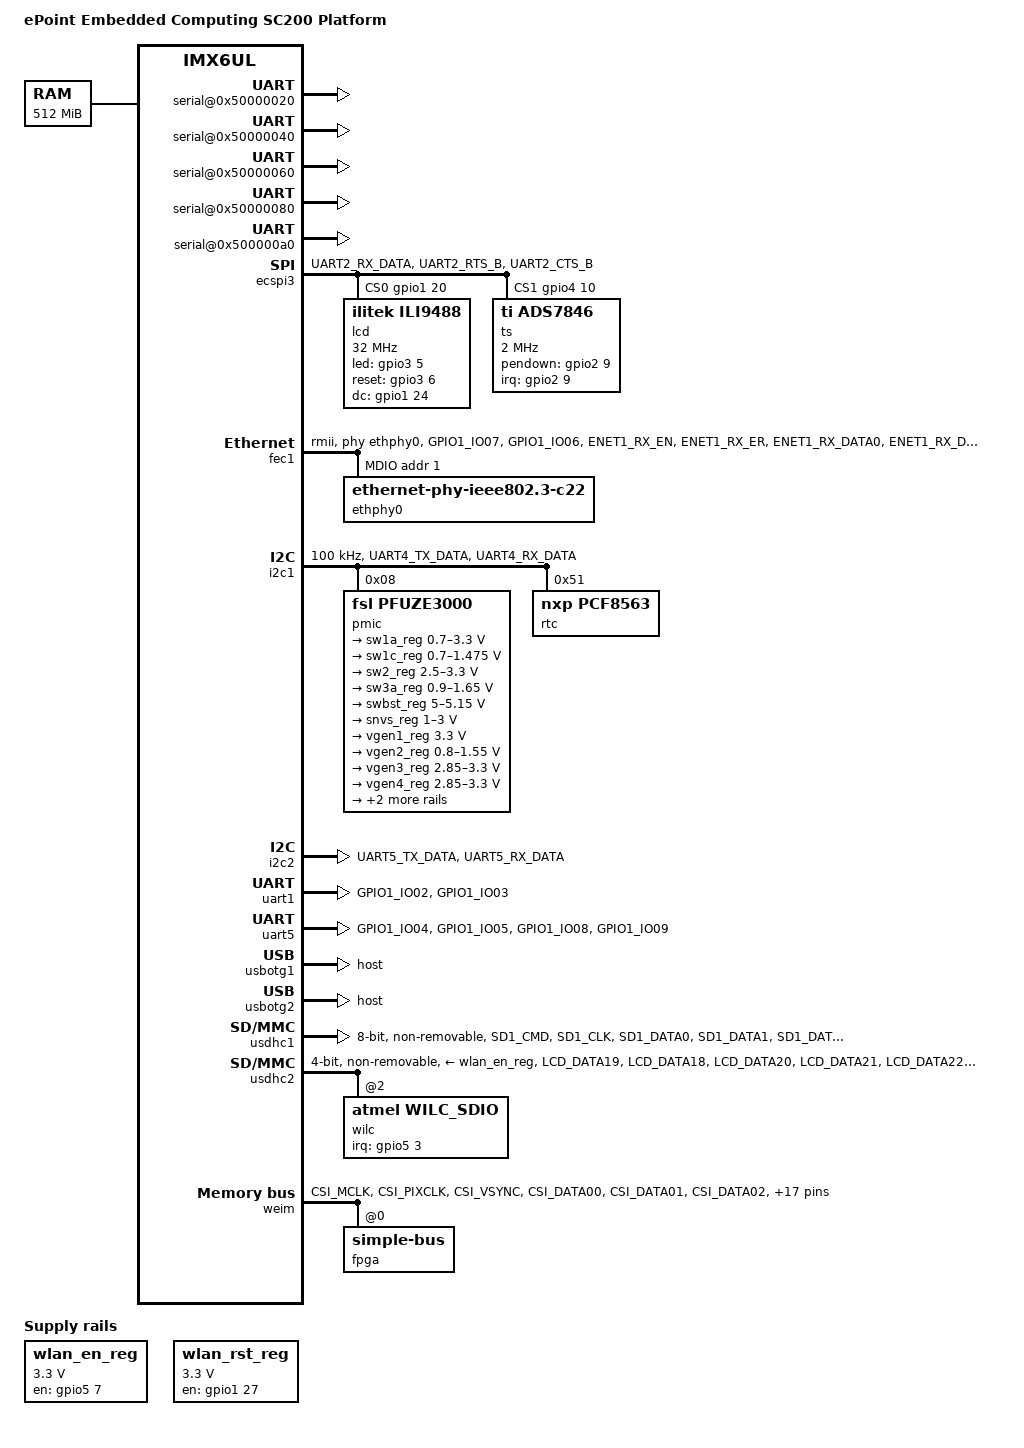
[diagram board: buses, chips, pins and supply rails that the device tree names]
/*
 * Copyright (C) 2015 Freescale Semiconductor, Inc.
 *
 * This program is free software; you can redistribute it and/or modify
 * it under the terms of the GNU General Public License version 2 as
 * published by the Free Software Foundation.
 */

/dts-v1/;

#include <dt-bindings/input/input.h>
#include "imx6ul.dtsi"

/ {
	model = "ePoint Embedded Computing SC200 Platform";
	compatible = "fsl,imx6ul-sc100", "fsl,imx6ul";

	chosen {
		stdout-path = &uart1;
	};

	memory {
		reg = <0x80000000 0x20000000>;
	};

	reserved-memory {
		#address-cells = <1>;
		#size-cells = <1>;
		ranges;

		linux,cma {
			compatible = "shared-dma-pool";
			reusable;
			size = <0x14000000>;
			linux,cma-default;
		};
	};

	regulators {
		compatible = "simple-bus";
		#address-cells = <1>;
		#size-cells = <0>;

		wlan_en_reg: regulator@0 {
			compatible = "regulator-fixed";
			reg = <0>;
			regulator-name = "wlan_en_reg";
			regulator-min-microvolt = <3300000>;
			regulator-max-microvolt = <3300000>;
			regulator-always-on;
			gpio = <&gpio5 7 1>;
			enable-active-high;
		};

		wlan_rst_reg: regulator@1 {
			compatible = "regulator-fixed";
			reg = <1>;
			regulator-name = "wlan_rst_reg";
			regulator-min-microvolt = <3300000>;
			regulator-max-microvolt = <3300000>;
			regulator-always-on;
			gpio = <&gpio1 27 1>;  
			enable-active-high;
		}; 

	};

	serial@0x50000020 {
		compatible = "ns16550a";
		reg = <0x50000020 0x0020>;
		clock-frequency = <66500000>;
		reg-shift = <2>;
		reg-io-width = <4>;
		interrupt-parent = <&gpio3>;
		interrupts = <18 IRQ_TYPE_LEVEL_HIGH>;
		status = "okay";
	}; 

	serial@0x50000040 {
		compatible = "ns16550a";
		reg = <0x50000040 0x0020>;
		clock-frequency = <66500000>;
		reg-shift = <2>;
		reg-io-width = <4>;
		interrupt-parent = <&gpio3>;
		interrupts = <19 IRQ_TYPE_LEVEL_HIGH>;
		status = "okay";
	}; 

	serial@0x50000060 {
		compatible = "ns16550a";
		reg = <0x50000060 0x0020>;
		clock-frequency = <66500000>;
		reg-shift = <2>;
		reg-io-width = <4>;
		interrupt-parent = <&gpio3>;
		interrupts = <20 IRQ_TYPE_LEVEL_HIGH>;
		status = "okay";
	}; 

	serial@0x50000080 {
		compatible = "ns16550a";
		reg = <0x50000080 0x0020>;
		clock-frequency = <66500000>;
		reg-shift = <2>;
		reg-io-width = <4>;
		interrupt-parent = <&gpio3>;
		interrupts = <21 IRQ_TYPE_LEVEL_HIGH>;
		status = "okay";
	}; 

		serial@0x500000a0 {
		compatible = "ns16550a";
		reg = <0x500000a0 0x0020>;
		clock-frequency = <66500000>;
		reg-shift = <2>;
		reg-io-width = <4>;
		interrupt-parent = <&gpio3>;
		interrupts = <22 IRQ_TYPE_LEVEL_HIGH>;
		status = "okay";
	}; 
	
};



&cpu0 {
	arm-supply = <&sw1c_reg>;
	soc-supply = <&sw1c_reg>;
	fsl,arm-soc-shared = <1>;
};

&clks {
	assigned-clocks = <&clks IMX6UL_CLK_PLL4_AUDIO_DIV>;
	assigned-clock-rates = <786432000>;
};

&ecspi3 {
	fsl,spi-num-chipselects = <2>;
	cs-gpios = <&gpio1 20 0>,<&gpio4 10 0>;
	pinctrl-names = "default";
	pinctrl-0 = <&pinctrl_ecspi3_1>;
	status = "okay";


    lcd@0{
		compatible = "ilitek,ili9488";
		reg = <0>;
		status = "okay";
		spi-max-frequency = <32000000>;
		rotate = <270>;
		bgr;
		fps = <50>;
		txbuflen=<138240>; 
		/* txbuflen=<131072>; */
	    buswidth = <8>;
		led-gpios = <&gpio3 5 0>;
		reset-gpios = <&gpio3 6 0>;
		dc-gpios = <&gpio1 24 0>;
	    debug = <0>;
	}; 

     ts@1{
		compatible = "ti,ads7846";
		reg = <1>;
		status = "okay";
		spi-max-frequency = <2000000>;
		interrupt-parent = <&gpio2>;
		interrupts = <9 0>;
		pendown-gpio = <&gpio2 9 0>;
		ti,x-plate-ohms = /bits/ 16 <100>;
		ti,pressure-max = /bits/ 16 <255>;
	}; 

	/* gpio6: gpio@1 {
		compatible = "microchip,mcp23S17";
		gpio-controller;
		spi-max-frequency = <50000000>;
		microchip,spi-present-mask = <0x01>;
		#gpio-cells=<2>;
		reg=<1>; 
	}; */
};

&fec1 {
	pinctrl-names = "default";
	pinctrl-0 = <&pinctrl_enet1>;
	phy-mode = "rmii";
	phy-reset-gpios = <&gpio5 2 GPIO_ACTIVE_LOW>;
	phy-handle = <&ethphy0>;
	status = "okay";
	
		mdio {
		#address-cells = <1>;
		#size-cells = <0>;

		ethphy0: ethernet-phy@1 {
			compatible = "ethernet-phy-ieee802.3-c22";
			reg = <1>;
		};
	};
};

&gpc {
	fsl,cpu_pupscr_sw2iso = <0x1>;
	fsl,cpu_pupscr_sw = <0x0>;
	fsl,cpu_pdnscr_iso2sw = <0x1>;
	fsl,cpu_pdnscr_iso = <0x1>;
	fsl,ldo-bypass = <0>; /* DCDC, ldo-enable */
};

&i2c1 {
	clock-frequency = <100000>;
	pinctrl-names = "default";
	pinctrl-0 = <&pinctrl_i2c1>;
	status = "okay";

	pmic: pfuze3000@08 {
		compatible = "fsl,pfuze3000";
		reg = <0x08>;

		regulators {
			sw1a_reg: sw1a {
					regulator-min-microvolt = <700000>;
					regulator-max-microvolt = <3300000>;
					regulator-boot-on;
					regulator-always-on;
					regulator-ramp-delay = <6250>;
			};

			/* use sw1c_reg to align with pfuze100/pfuze200 */
			sw1c_reg: sw1b {
				regulator-min-microvolt = <700000>;
				regulator-max-microvolt = <1475000>;
				regulator-boot-on;
				regulator-always-on;
				regulator-ramp-delay = <6250>;
			};

			sw2_reg: sw2 {
				regulator-min-microvolt = <2500000>;
				regulator-max-microvolt = <3300000>;
				regulator-boot-on;
				regulator-always-on;
			};

			sw3a_reg: sw3 {
				regulator-min-microvolt = <900000>;
				regulator-max-microvolt = <1650000>;
				regulator-boot-on;
				regulator-always-on;
			};

			swbst_reg: swbst {
				regulator-min-microvolt = <5000000>;
				regulator-max-microvolt = <5150000>;
			};

			snvs_reg: vsnvs {
				regulator-min-microvolt = <1000000>;
				regulator-max-microvolt = <3000000>;
				regulator-boot-on;
				regulator-always-on;
			};

			vref_reg: vrefddr {
				regulator-boot-on;
				regulator-always-on;
			};

			vgen1_reg: vldo1 {
				regulator-min-microvolt = <3300000>;
				regulator-max-microvolt = <3300000>;
				regulator-always-on;
			};

			vgen2_reg: vldo2 {
				regulator-min-microvolt = <800000>;
				regulator-max-microvolt = <1550000>;
				regulator-always-on;
			};

			vgen3_reg: vccsd {
				regulator-min-microvolt = <2850000>;
				regulator-max-microvolt = <3300000>;
				regulator-always-on;
			};

			vgen4_reg: v33 {
				regulator-min-microvolt = <2850000>;
				regulator-max-microvolt = <3300000>;
				regulator-always-on;
			};

			vgen5_reg: vldo3 {
				regulator-min-microvolt = <1800000>;
				regulator-max-microvolt = <3300000>;
				regulator-always-on;
			};

			vgen6_reg: vldo4 {
				regulator-min-microvolt = <1800000>;
				regulator-max-microvolt = <3300000>;
				regulator-always-on;
			};
		};
	};
	
	rtc: pcf8563@51 {
		compatible = "nxp,pcf8563";
		reg = <0x51>;
	};
};

&i2c2 {
	clock_frequency = <100000>;
	pinctrl-names = "default";
	pinctrl-0 = <&pinctrl_i2c2>;
	status = "okay";
};

&iomuxc {
	pinctrl-names = "default";
	pinctrl-0 = <&pinctrl_hog_1>;
	imx6ul-evk {
		pinctrl_hog_1: hoggrp-1 {
			fsl,pins = <				
				MX6UL_PAD_SNVS_TAMPER0__GPIO5_IO00	0x80000000
				MX6UL_PAD_SNVS_TAMPER1__GPIO5_IO01	0x80000000
				MX6UL_PAD_SNVS_TAMPER2__GPIO5_IO02	0x80000000
				MX6UL_PAD_SNVS_TAMPER3__GPIO5_IO03	0x80000000
				MX6UL_PAD_SNVS_TAMPER4__GPIO5_IO04	0x80000000
				MX6UL_PAD_SNVS_TAMPER5__GPIO5_IO05	0x80000000
				MX6UL_PAD_SNVS_TAMPER6__GPIO5_IO06	0x80000000
				MX6UL_PAD_SNVS_TAMPER7__GPIO5_IO07	0x80000000
				MX6UL_PAD_SNVS_TAMPER8__GPIO5_IO08	0x80000000
				MX6UL_PAD_SNVS_TAMPER9__GPIO5_IO09	0x80000000
				MX6UL_PAD_UART2_TX_DATA__GPIO1_IO20	0x80000000
				MX6UL_PAD_UART3_TX_DATA__GPIO1_IO24	0x80000000
				MX6UL_PAD_UART3_RTS_B__GPIO1_IO27	0x80000000
				MX6UL_PAD_LCD_DATA00__GPIO3_IO05	0x80000000
				MX6UL_PAD_LCD_DATA01__GPIO3_IO06	0x80000000
				MX6UL_PAD_LCD_DATA02__GPIO3_IO07	0x80000000
				MX6UL_PAD_LCD_DATA03__GPIO3_IO08	0x80000000
				MX6UL_PAD_LCD_DATA04__GPIO3_IO09	0x80000000
				MX6UL_PAD_LCD_DATA05__GPIO3_IO10	0x80000000				
				MX6UL_PAD_LCD_DATA08__GPIO3_IO13	0x80000000
				MX6UL_PAD_LCD_DATA09__GPIO3_IO14	0x80000000
				MX6UL_PAD_LCD_DATA10__GPIO3_IO15	0x80000000
				MX6UL_PAD_LCD_DATA11__GPIO3_IO16	0x80000000
				MX6UL_PAD_LCD_DATA12__GPIO3_IO17	0x80000000
				MX6UL_PAD_LCD_DATA13__GPIO3_IO18	0x80000000
				MX6UL_PAD_LCD_DATA14__GPIO3_IO19	0x80000000
				MX6UL_PAD_LCD_DATA15__GPIO3_IO20	0x80000000
				MX6UL_PAD_LCD_DATA16__GPIO3_IO21	0x80000000
				MX6UL_PAD_LCD_DATA17__GPIO3_IO22	0x80000000
				MX6UL_PAD_NAND_ALE__GPIO4_IO10      0x80000000
				MX6UL_PAD_ENET2_RX_DATA0__GPIO2_IO08  0x80000000
				MX6UL_PAD_ENET2_RX_DATA1__GPIO2_IO09  0x80000000
				MX6UL_PAD_GPIO1_IO00__GPIO1_IO00	0x80000000
				MX6UL_PAD_GPIO1_IO01__GPIO1_IO01	0x80000000
			>;
		};

		pinctrl_adc1: adc1grp {
			fsl,pins = <
				MX6UL_PAD_GPIO1_IO00__GPIO1_IO00	0xb0
				MX6UL_PAD_GPIO1_IO01__GPIO1_IO01	0xb0
				MX6UL_PAD_GPIO1_IO04__GPIO1_IO04	0xb0
				MX6UL_PAD_GPIO1_IO05__GPIO1_IO05	0xb0
				MX6UL_PAD_GPIO1_IO08__GPIO1_IO08	0xb0
			>;
		};

		pinctrl_ecspi1_1: ecspi1grp {
			fsl,pins = <
				MX6UL_PAD_LCD_DATA23__ECSPI1_MISO	0x100b1
				MX6UL_PAD_LCD_DATA22__ECSPI1_MOSI	0x100b1
				MX6UL_PAD_LCD_DATA20__ECSPI1_SCLK	0x100b1
			>;
		};

        pinctrl_ecspi3_1: ecspi3grp {
			fsl,pins = <
				MX6UL_PAD_UART2_RX_DATA__ECSPI3_SCLK	0x100b1
				MX6UL_PAD_UART2_RTS_B__ECSPI3_MISO	    0x100b1
                MX6UL_PAD_UART2_CTS_B__ECSPI3_MOSI	    0x100b1
			>;
		};

		pinctrl_ecspi4_1: ecspi4grp {
			fsl,pins = <
				MX6UL_PAD_ENET2_TX_DATA1__ECSPI4_SCLK	0x100b1
				MX6UL_PAD_ENET2_TX_CLK__ECSPI4_MISO	    0x100b1
                MX6UL_PAD_ENET2_TX_EN__ECSPI4_MOSI	    0x100b1
			>;
		};

		pinctrl_enet1: enet1grp {
			fsl,pins = <
				MX6UL_PAD_GPIO1_IO07__ENET1_MDC		0x1b0b0
				MX6UL_PAD_GPIO1_IO06__ENET1_MDIO	0x1b0b0
				MX6UL_PAD_ENET1_RX_EN__ENET1_RX_EN	0x1b0b0
				MX6UL_PAD_ENET1_RX_ER__ENET1_RX_ER	0x1b0b0
				MX6UL_PAD_ENET1_RX_DATA0__ENET1_RDATA00	0x1b0b0
				MX6UL_PAD_ENET1_RX_DATA1__ENET1_RDATA01	0x1b0b0
				MX6UL_PAD_ENET1_TX_EN__ENET1_TX_EN	0x1b0b0
				MX6UL_PAD_ENET1_TX_DATA0__ENET1_TDATA00	0x1b0b0
				MX6UL_PAD_ENET1_TX_DATA1__ENET1_TDATA01	0x1b0b0
				MX6UL_PAD_ENET1_TX_CLK__ENET1_REF_CLK1	0x4001b031
			>;
		};

		pinctrl_flexcan1: flexcan1grp{
			fsl,pins = <
				MX6UL_PAD_UART3_RTS_B__FLEXCAN1_RX	0x1b020
				MX6UL_PAD_UART3_CTS_B__FLEXCAN1_TX	0x1b020
			>;
		};

		pinctrl_i2c1: i2c1grp {
			fsl,pins = <
				MX6UL_PAD_UART4_TX_DATA__I2C1_SCL 	0x4001b8b0
				MX6UL_PAD_UART4_RX_DATA__I2C1_SDA  	0x4001b8b0
			>;
		};

		pinctrl_i2c2: i2c2grp {
			fsl,pins = <
				MX6UL_PAD_UART5_TX_DATA__I2C2_SCL 0x4001b8b0
				MX6UL_PAD_UART5_RX_DATA__I2C2_SDA 0x4001b8b0
			>;
		};
			
		pinctrl_i2c3: i2c3grp {
			fsl,pins = <
				MX6UL_PAD_UART1_TX_DATA__I2C3_SCL 0x4001b8b0
				MX6UL_PAD_UART1_RX_DATA__I2C3_SDA 0x4001b8b0
			>;
		};

		pinctrl_qspi: qspigrp {
			fsl,pins = <
				MX6UL_PAD_NAND_WP_B__QSPI_A_SCLK      0x70a1
				MX6UL_PAD_NAND_READY_B__QSPI_A_DATA00 0x70a1
				MX6UL_PAD_NAND_CE0_B__QSPI_A_DATA01   0x70a1
				MX6UL_PAD_NAND_CE1_B__QSPI_A_DATA02   0x70a1
				MX6UL_PAD_NAND_CLE__QSPI_A_DATA03     0x70a1
				MX6UL_PAD_NAND_DQS__QSPI_A_SS0_B      0x70a1
			>;
		};


		pinctrl_uart1: uart1grp {
			fsl,pins = <
				MX6UL_PAD_GPIO1_IO02__UART1_DCE_TX 0x1b0b1
				MX6UL_PAD_GPIO1_IO03__UART1_DCE_RX 0x1b0b1
			>;
		};

		pinctrl_uart2: uart2grp {
			fsl,pins = <
				MX6UL_PAD_UART2_TX_DATA__UART2_DCE_TX	0x1b0b1
				MX6UL_PAD_UART2_RX_DATA__UART2_DCE_RX	0x1b0b1
			>;
		};

		pinctrl_uart3: uart3grp {
			fsl,pins = <
				MX6UL_PAD_UART3_TX_DATA__UART3_DCE_TX	0x1b0b1
				MX6UL_PAD_UART3_RX_DATA__UART3_DCE_RX	0x1b0b1
			>;
		};
		
		pinctrl_uart4: uart4grp {
			fsl,pins = <
				MX6UL_PAD_UART4_TX_DATA__UART4_DCE_TX	0x1b0b1
				MX6UL_PAD_UART4_RX_DATA__UART4_DCE_RX	0x1b0b1
			>;
		};
		
		pinctrl_uart5: uart5grp {
			fsl,pins = <
				MX6UL_PAD_GPIO1_IO04__UART5_DCE_TX	0x1b0b1
				MX6UL_PAD_GPIO1_IO05__UART5_DTE_TX	0x1b0b1
				MX6UL_PAD_GPIO1_IO08__UART5_DTE_CTS	0x1b0b1
				MX6UL_PAD_GPIO1_IO09__UART5_DTE_RTS	0x1b0b1
			>;
		};
		
		pinctrl_uart6: uart6grp {
			fsl,pins = <
				MX6UL_PAD_ENET2_RX_DATA0__UART6_DCE_TX	0x1b0b1
				MX6UL_PAD_ENET2_RX_DATA1__UART6_DCE_RX 	0x1b0b1
				MX6UL_PAD_CSI_VSYNC__UART6_DCE_RTS	0x1b0b1
				MX6UL_PAD_CSI_HSYNC__UART6_DCE_CTS	0x1b0b1
			>;
		};
		
		pinctrl_uart7: uart7grp {
			fsl,pins = <
				MX6UL_PAD_ENET2_TX_DATA0__UART7_DCE_RX	0x1b0b1
				MX6UL_PAD_ENET2_RX_EN__UART7_DCE_TX	0x1b0b1
			>;
		};
		
		pinctrl_uart8: uart8grp {
			fsl,pins = <
				MX6UL_PAD_ENET2_TX_DATA1__UART8_DCE_TX	0x1b0b1
				MX6UL_PAD_ENET2_TX_EN__UART8_DCE_RX		0x1b0b1
				MX6UL_PAD_ENET2_RX_ER__UART8_DCE_RTS	0x1b0b1
				MX6UL_PAD_ENET2_TX_CLK__UART8_DCE_CTS	0x1b0b1
			>;
		};
		
		pinctrl_usdhc1: usdhc1grp {
			fsl,pins = <
				MX6UL_PAD_SD1_CMD__USDHC1_CMD     0x17059
				MX6UL_PAD_SD1_CLK__USDHC1_CLK     0x10071
				MX6UL_PAD_SD1_DATA0__USDHC1_DATA0 0x17059
				MX6UL_PAD_SD1_DATA1__USDHC1_DATA1 0x17059
				MX6UL_PAD_SD1_DATA2__USDHC1_DATA2 0x17059
				MX6UL_PAD_SD1_DATA3__USDHC1_DATA3 0x17059
				MX6UL_PAD_NAND_READY_B__USDHC1_DATA4 0x17059
				MX6UL_PAD_NAND_CE0_B__USDHC1_DATA5 0x17059
				MX6UL_PAD_NAND_CE1_B__USDHC1_DATA6 0x17059
				MX6UL_PAD_NAND_CLE__USDHC1_DATA7 0x17059
				
			>;
		};

		pinctrl_usdhc1_100mhz: usdhc1grp100mhz {
			fsl,pins = <
				MX6UL_PAD_SD1_CMD__USDHC1_CMD     0x170b9
				MX6UL_PAD_SD1_CLK__USDHC1_CLK     0x100b9
				MX6UL_PAD_SD1_DATA0__USDHC1_DATA0 0x170b9
				MX6UL_PAD_SD1_DATA1__USDHC1_DATA1 0x170b9
				MX6UL_PAD_SD1_DATA2__USDHC1_DATA2 0x170b9
				MX6UL_PAD_SD1_DATA3__USDHC1_DATA3 0x170b9
				MX6UL_PAD_NAND_READY_B__USDHC1_DATA4 0x170b9
				MX6UL_PAD_NAND_CE0_B__USDHC1_DATA5 0x170b9
				MX6UL_PAD_NAND_CE1_B__USDHC1_DATA6 0x170b9
				MX6UL_PAD_NAND_CLE__USDHC1_DATA7 0x170b9
			>;
		};

		pinctrl_usdhc1_200mhz: usdhc1grp200mhz {
			fsl,pins = <
				MX6UL_PAD_SD1_CMD__USDHC1_CMD     0x170f9
				MX6UL_PAD_SD1_CLK__USDHC1_CLK     0x100f9
				MX6UL_PAD_SD1_DATA0__USDHC1_DATA0 0x170f9
				MX6UL_PAD_SD1_DATA1__USDHC1_DATA1 0x170f9
				MX6UL_PAD_SD1_DATA2__USDHC1_DATA2 0x170f9
				MX6UL_PAD_SD1_DATA3__USDHC1_DATA3 0x170f9
				MX6UL_PAD_NAND_READY_B__USDHC1_DATA4 0x170f9
				MX6UL_PAD_NAND_CE0_B__USDHC1_DATA5 0x170f9
				MX6UL_PAD_NAND_CE1_B__USDHC1_DATA6 0x170f9
				MX6UL_PAD_NAND_CLE__USDHC1_DATA7 0x170f9				
			>;
		};

		pinctrl_usdhc2: usdhc2grp {
			fsl,pins = <
				MX6UL_PAD_LCD_DATA19__USDHC2_CLK     0x10069
				MX6UL_PAD_LCD_DATA18__USDHC2_CMD     0x17059
				MX6UL_PAD_LCD_DATA20__USDHC2_DATA0   0x17059
				MX6UL_PAD_LCD_DATA21__USDHC2_DATA1	 0x17059
				MX6UL_PAD_LCD_DATA22__USDHC2_DATA2 	 0x17059
				MX6UL_PAD_LCD_DATA23__USDHC2_DATA3 	 0x17059
			>;
		};

		pinctrl_wdog: wdoggrp {
			fsl,pins = <
				MX6UL_PAD_LCD_RESET__WDOG1_WDOG_ANY    0x30b0
			>;
		};

        pinctrl_weim: weimgrp {
			fsl,pins = <
				MX6UL_PAD_CSI_MCLK__EIM_CS0_B       0x1b0b1
				MX6UL_PAD_CSI_PIXCLK__EIM_OE        0x1b0b1
				MX6UL_PAD_CSI_VSYNC__EIM_RW         0x1b0b1
				MX6UL_PAD_CSI_DATA00__EIM_AD00      0x1b0b1
				MX6UL_PAD_CSI_DATA01__EIM_AD01      0x1b0b1
				MX6UL_PAD_CSI_DATA02__EIM_AD02      0x1b0b1
                MX6UL_PAD_CSI_DATA03__EIM_AD03      0x1b0b1
                MX6UL_PAD_CSI_DATA04__EIM_AD04      0x1b0b1
                MX6UL_PAD_CSI_DATA05__EIM_AD05      0x1b0b1
                MX6UL_PAD_CSI_DATA06__EIM_AD06      0x1b0b1
                MX6UL_PAD_CSI_DATA07__EIM_AD07      0x1b0b1
				MX6UL_PAD_NAND_DATA00__EIM_AD08		0x1b0b1
				MX6UL_PAD_NAND_DATA01__EIM_AD09		0x1b0b1
				MX6UL_PAD_NAND_DATA02__EIM_AD10		0x1b0b1
				MX6UL_PAD_NAND_DATA03__EIM_AD11		0x1b0b1
				MX6UL_PAD_NAND_DATA04__EIM_AD12		0x1b0b1
				MX6UL_PAD_NAND_DATA05__EIM_AD13		0x1b0b1
				MX6UL_PAD_NAND_DATA06__EIM_AD14		0x1b0b1
				MX6UL_PAD_NAND_DATA07__EIM_AD15		0x1b0b1
				MX6UL_PAD_NAND_RE_B__EIM_EB_B00		0x1b0b1
				MX6UL_PAD_NAND_WE_B__EIM_EB_B01		0x1b0b1
				MX6UL_PAD_NAND_WP_B__EIM_BCLK		0x1b0b1
				MX6UL_PAD_NAND_DQS__EIM_WAIT		0x1b0b1
			>;
		};
	};
};


&uart1 {
	pinctrl-names = "default";
	pinctrl-0 = <&pinctrl_uart1>;
	status = "okay";
};


&uart5 {
	pinctrl-names = "default";
	pinctrl-0 = <&pinctrl_uart5>;
	/* fsl,uart-has-rtscts; */
	status = "okay";
};


&usbotg1 {
	dr_mode = "host";
	disable-over-current;
	status = "okay";
};

&usbotg2 {
	dr_mode = "host";
	disable-over-current;
	status = "okay";
};

&usbphy1 {
	tx-d-cal = <0x5>;
};

&usbphy2 {
	tx-d-cal = <0x5>;
};

&usdhc1 {
	pinctrl-names = "default";
	pinctrl-0 = <&pinctrl_usdhc1>;
	no-1-8-v;
	bus-width = <8>;
	max-frequency = <20000000>;
	non-removable;
	status = "okay";
};

&usdhc2 {
	pinctrl-names = "default";
	pinctrl-0 = <&pinctrl_usdhc2>;
	no-1-8-v;
	non-removable;
	bus-width = <4>;
	/* keep-power-in-suspend;
	enable-sdio-wakeup; */
	vmmc-supply = <&wlan_en_reg>;
	status = "okay";
	#address-cells = <1>;
	#size-cells = <0>; 
	wilc: wilc_sdio@0 {
			compatible = "atmel,wilc_sdio";
			reg = <2>; 
			/* gpio_reset = <&gpio1 27 0>; */
			/* gpio_chip_en = <&gpio5 7 1>; */
			gpio_irq = <&gpio5 3 0>;
			status = "okay";
		}; 
};
	
&weim {
    pinctrl-names = "default";
	pinctrl-0 = <&pinctrl_weim>;
	#address-cells = <2>;
	#size-cells = <1>;
	ranges = <0 0 0x50000000 0x08000000>;
    fsl,weim-cs-gpr = <&gpr>;
    status = "okay";
	
		fpga@0,0 {
			compatible = "simple-bus";
			#address-cells = <1>;
			#size-cells = <1>;
			reg = <0 0 0x02000000>;
			fsl,weim-cs-timing = <0x0191000f 0x00001200 0x02001000
					0x0000c008 0x02404a38e 0x00000000>;
			bclk-continuous;
		};
};

